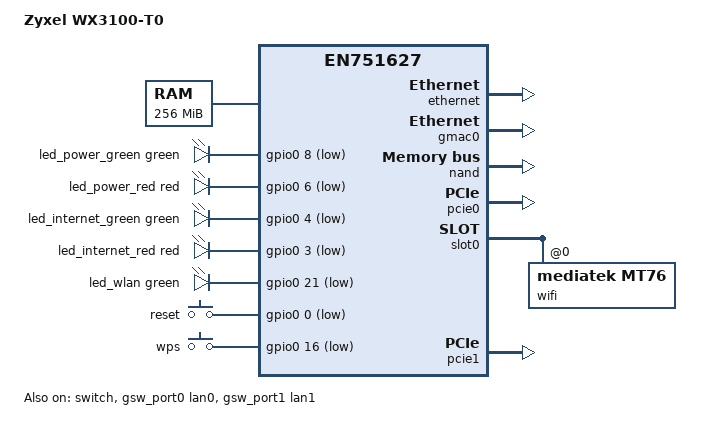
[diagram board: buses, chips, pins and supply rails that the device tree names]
// SPDX-License-Identifier: (GPL-2.0-only OR BSD-2-Clause)
/dts-v1/;

#include "en751627.dtsi"

#include <dt-bindings/gpio/gpio.h>
#include <dt-bindings/input/input.h>
#include <dt-bindings/leds/common.h>

/ {
	model = "Zyxel WX3100-T0";
	compatible = "zyxel,wx3100-t0", "econet,en751627";

	aliases {
		label-mac-device = &gmac0;
		led-boot = &led_power_green;
		led-failsafe = &led_power_red;
		led-running = &led_power_green;
		led-upgrade = &led_power_red;
	};

	memory@0 {
		device_type = "memory";
		reg = <0x00000000 0x10000000>;
	};

	chosen {
		stdout-path = "/serial@1fbf0000:115200";
	};

	leds {
		compatible = "gpio-leds";

		led_power_green: power-green {
			color = <LED_COLOR_ID_GREEN>;
			function = LED_FUNCTION_POWER;
			gpios = <&gpio0 8 GPIO_ACTIVE_LOW>;
			default-state = "on";
		};

		led_power_red: power-red {
			color = <LED_COLOR_ID_RED>;
			function = LED_FUNCTION_POWER;
			gpios = <&gpio0 6 GPIO_ACTIVE_LOW>;
		};

		led_internet_green: internet-green {
			color = <LED_COLOR_ID_GREEN>;
			function = "internet";
			gpios = <&gpio0 4 GPIO_ACTIVE_LOW>;
		};

		led_internet_red: internet-red {
			color = <LED_COLOR_ID_RED>;
			function = "internet";
			gpios = <&gpio0 3 GPIO_ACTIVE_LOW>;
		};

		led_wlan: wlan {
			color = <LED_COLOR_ID_GREEN>;
			function = LED_FUNCTION_WLAN;
			gpios = <&gpio0 21 GPIO_ACTIVE_LOW>;
			linux,default-trigger = "phy0tpt";
		};
	};

	keys {
		compatible = "gpio-keys-polled";
		poll-interval = <100>;

		key-reset {
			label = "reset";
			gpios = <&gpio0 0 GPIO_ACTIVE_LOW>;
			linux,code = <KEY_RESTART>;
		};

		key-wps {
			label = "wps";
			gpios = <&gpio0 16 GPIO_ACTIVE_LOW>;
			linux,code = <KEY_WPS_BUTTON>;
		};
	};
};

&ethernet {
	status = "okay";
};

&gmac0 {
	status = "okay";

	nvmem-cells = <&macaddr 0>;
	nvmem-cell-names = "mac-address";
};

&switch {
	status = "okay";
};

&gsw_port0 {
	label = "lan0";
	status = "okay";
};

&gsw_port1 {
	label = "lan1";
	status = "okay";
};

&nand {
	status = "okay";
	econet,bmt;

	partitions {
		compatible = "fixed-partitions";
		#address-cells = <1>;
		#size-cells = <1>;

		partition@0all {
			label = "all_of_flash";
			reg = <0x0 0x8000000>;
			read-only;
		};

		partition@0 {
			label = "bootloader";
			reg = <0x0 0x40000>;
			read-only;

			nvmem-layout {
				compatible = "fixed-layout";
				#address-cells = <1>;
				#size-cells = <1>;

				macaddr: macaddr@ff48 {
					compatible = "mac-base";
					reg = <0xff48 0x6>;
					#nvmem-cell-cells = <1>;
				};
			};
		};

		partition@40000 {
			label = "romfile";
			reg = <0x40000 0x40000>;
			read-only;
		};

		partition@80000 {
			label = "tclinux";
			reg = <0x80000 0x2800000>;
			read-only;
			econet,enable-remap;
		};

		/* Nested inside of tclinux */
		partition@480000 {
			label = "rootfs";
			reg = <0x480000 0x2400000>;
			linux,rootfs;
			read-only;
		};

		partition@2880000 {
			label = "tclinux_alt";
			reg = <0x2880000 0x2620000>;
		};

		partition@4ea0000 {
			label = "wwan";
			reg = <0x4ea0000 0x100000>;
		};

		partition@4fa0000 {
			label = "factory_data";
			reg = <0x4fa0000 0x400000>;
		};

		partition@53a0000 {
			label = "rom-d";
			reg = <0x53a0000 0x100000>;
		};

		partition@54a0000 {
			label = "misc";
			reg = <0x54a0000 0x2000000>;
		};

		factory: partition@74a0000 {
			label = "factory";
			reg = <0x74a0000 0x80000>;
		};

		partition@7520000 {
			label = "reservearea";
			reg = <0x7520000 0xc0000>;
		};
	};
};

&pcie0 {
	status = "okay";
};

&slot0 {
	status = "okay";

	wifi@0,0 {
		compatible = "mediatek,mt76";
		reg = <0x0000 0 0 0 0>;
		/* mt76 nvmem EEPROM loading lacks the big-endian word
		 * swap the MTD path applies for "big-endian" (the
		 * stored EEPROM then fails mt7915_check_eeprom), so
		 * keep mediatek,mtd-eeprom as on the EX3301-T0.
		 */
		mediatek,mtd-eeprom = <&factory 0x0>;
		big-endian;

		#address-cells = <1>;
		#size-cells = <0>;

		band@0 {
			reg = <0>;
			nvmem-cells = <&macaddr 1>;
			nvmem-cell-names = "mac-address";
		};

		band@1 {
			reg = <1>;
			nvmem-cells = <&macaddr 2>;
			nvmem-cell-names = "mac-address";
		};
	};
};

&pcie1 {
	status = "okay";

	/* Slot 1 is a second link to the same wifi chip */
};
